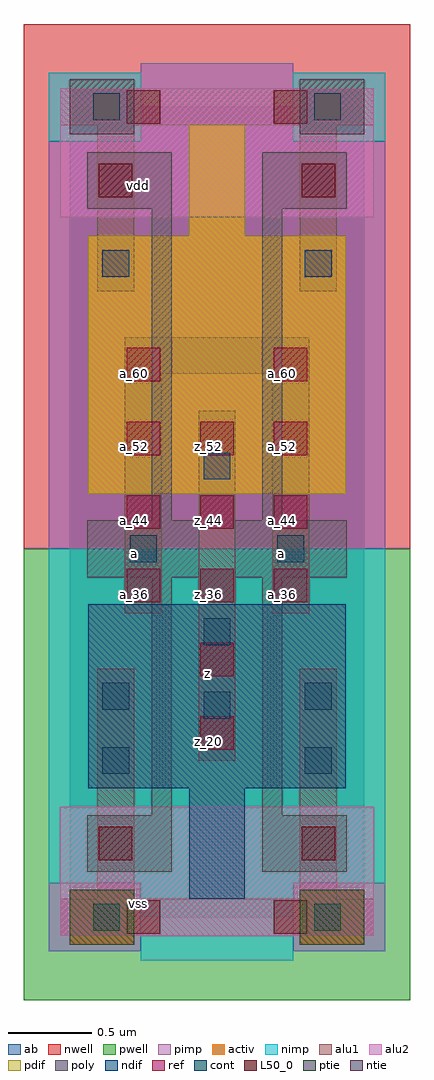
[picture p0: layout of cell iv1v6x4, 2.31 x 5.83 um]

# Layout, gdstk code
import gdstk
lib = gdstk.Library(unit=1e-6, precision=2.5e-09)
def R(c, l, rs):  # rectangles x0, y0, x1, y1
    for r in rs: c.add(gdstk.rectangle(r[:2], r[2:], *l))
def A(c, l, x, y, w, h, nx, ny, dx, dy):  # array of equal rectangles
    R(c, l, [(x+i*dx, y+j*dy, x+i*dx+w, y+j*dy+h) for i in range(nx) for j in range(ny)])
ndif = (3, 0)
pdif = (4, 0)
ntie = (5, 0)
ptie = (6, 0)
ref = (24, 0)
cont = (25, 0)
pwell = (41, 0)
nwell = (42, 0)
activ = (43, 0)
pimp = (44, 0)
nimp = (45, 0)
poly = (46, 0)
alu1 = (49, 0)
L50_0 = (50, 0)
alu2 = (51, 0)
ab = (63, 0)

iv1v6x4 = lib.new_cell('iv1v6x4')
R(iv1v6x4, ndif, [(0.715,0.11,1.045,0.77), (0.11,0.77,1.65,1.87)])
R(iv1v6x4, pdif, [(0.11,2.53,1.65,4.07), (0.715,4.07,1.045,4.73)])
R(iv1v6x4, ntie, [(0,4.675,0.385,5.005), (1.375,4.675,1.76,5.005)])
R(iv1v6x4, ptie, [(0,-0.165,0.385,0.165), (1.375,-0.165,1.76,0.165)])
A(iv1v6x4, ref, 0.34, 1.88, 0.2, 0.2, 3, 3, 0.44, 0.44)
R(iv1v6x4, ref, [(0.78,1,0.98,1.2), (0.78,1.44,0.98,1.64), (0.34,3.2,0.54,3.4), (1.22,3.2,1.42,3.4)])
R(iv1v6x4, cont, [(0.14,-0.08,0.3,0.08), (1.46,-0.08,1.62,0.08), (0.195,0.855,0.355,1.015), (1.405,0.855,1.565,1.015), (0.8,1.185,0.96,1.345), (0.195,1.24,0.355,1.4), (1.405,1.24,1.565,1.4), (0.8,1.625,0.96,1.785), (0.36,2.12,0.52,2.28), (1.24,2.12,1.4,2.28), (0.8,2.615,0.96,2.775), (0.195,3.825,0.355,3.985), (1.405,3.825,1.565,3.985), (0.14,4.76,0.3,4.92), (1.46,4.76,1.62,4.92)])
R(iv1v6x4, pwell, [(-0.275,-0.495,2.035,2.2)])
R(iv1v6x4, nwell, [(-0.275,2.2,2.035,5.335)])
R(iv1v6x4, activ, [(0,-0.165,0.385,0.165), (1.375,-0.165,1.76,0.165), (0.715,0.11,1.045,0.77), (0.11,0.77,1.65,1.87), (0.11,2.53,1.65,4.07), (0.715,4.07,1.045,4.73), (0,4.675,0.385,5.005), (1.375,4.675,1.76,5.005)])
R(iv1v6x4, pimp, [(-0.125,-0.205,0.425,0.205), (1.335,-0.205,1.885,0.205), (-0.125,2.2,1.885,4.635), (0.425,4.635,1.335,5.1)])
R(iv1v6x4, nimp, [(0.425,-0.26,1.335,0.205), (-0.125,0.205,1.885,2.2), (-0.125,4.635,0.425,5.045), (1.335,4.635,1.885,5.045)])
R(iv1v6x4, poly, [(0.105,0.27,0.61,0.61), (1.15,0.27,1.655,0.61), (0.49,0.61,0.61,2.03), (1.15,0.61,1.27,2.03), (0.105,2.03,0.775,2.37), (0.985,2.03,1.655,2.37), (0.49,2.37,0.61,4.23), (1.15,2.37,1.27,4.23), (0.105,4.23,0.61,4.57), (1.15,4.23,1.655,4.57)])
R(iv1v6x4, alu1, [(-0.055,-0.11,1.815,0.11), (0.165,0.11,0.385,1.485), (1.375,0.11,1.595,1.485), (0.77,0.935,0.99,3.025), (0.33,1.815,0.55,3.245), (1.21,1.815,1.43,3.245), (0.33,3.245,1.43,3.465), (0.165,3.74,0.385,4.73), (1.375,3.74,1.595,4.73), (-0.055,4.73,1.815,4.95)])
R(iv1v6x4, L50_0, [(0.34,-0.1,0.54,0.1), (1.22,-0.1,1.42,0.1), (0.175,0.34,0.375,0.54), (1.385,0.34,1.585,0.54), (0.175,4.3,0.375,4.5), (1.385,4.3,1.585,4.5), (0.34,4.74,0.54,4.94), (1.22,4.74,1.42,4.94)])
R(iv1v6x4, alu2, [(-0.055,-0.11,1.815,0.66), (-0.055,4.18,1.815,4.95)])
R(iv1v6x4, ab, [(0,0,1.76,4.84)])
iv1v6x4.add(gdstk.Label('a', (1.265,2.1725), layer=49, texttype=0))
iv1v6x4.add(gdstk.Label('z', (0.825,1.4575), layer=49, texttype=0))
iv1v6x4.add(gdstk.Label('a', (0.385,2.1725), layer=49, texttype=0))
iv1v6x4.add(gdstk.Label('vss', (0.4125,0.0825), layer=51, texttype=0))
iv1v6x4.add(gdstk.Label('vdd', (0.4125,4.3725), layer=51, texttype=0))
iv1v6x4.add(gdstk.Label('z_20', (0.83,1.05), layer=24, texttype=0))
iv1v6x4.add(gdstk.Label('z_28', (0.83,1.49), layer=24, texttype=0))
iv1v6x4.add(gdstk.Label('a_60', (0.39,3.25), layer=24, texttype=0))
iv1v6x4.add(gdstk.Label('a_60', (1.27,3.25), layer=24, texttype=0))
iv1v6x4.add(gdstk.Label('a_52', (1.27,2.81), layer=24, texttype=0))
iv1v6x4.add(gdstk.Label('a_44', (1.27,2.37), layer=24, texttype=0))
iv1v6x4.add(gdstk.Label('a_36', (1.27,1.93), layer=24, texttype=0))
iv1v6x4.add(gdstk.Label('z_36', (0.83,1.93), layer=24, texttype=0))
iv1v6x4.add(gdstk.Label('z_44', (0.83,2.37), layer=24, texttype=0))
iv1v6x4.add(gdstk.Label('z_52', (0.83,2.81), layer=24, texttype=0))
iv1v6x4.add(gdstk.Label('a_52', (0.39,2.81), layer=24, texttype=0))
iv1v6x4.add(gdstk.Label('a_44', (0.39,2.37), layer=24, texttype=0))
iv1v6x4.add(gdstk.Label('a_36', (0.39,1.93), layer=24, texttype=0))

lib.write_gds('iv1v6x4.gds')
